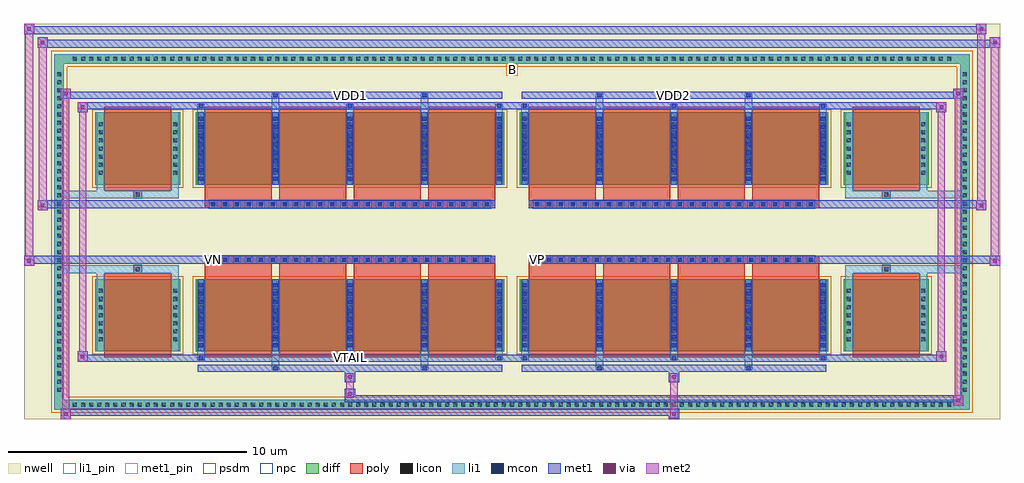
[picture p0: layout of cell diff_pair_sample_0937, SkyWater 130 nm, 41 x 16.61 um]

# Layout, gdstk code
import gdstk
lib = gdstk.Library(unit=1e-6, precision=5e-09)
def R(c, l, rs):  # rectangles x0, y0, x1, y1
    for r in rs: c.add(gdstk.rectangle(r[:2], r[2:], *l))
def A(c, l, x, y, w, h, nx, ny, dx, dy):  # array of equal rectangles
    R(c, l, [(x+i*dx, y+j*dy, x+i*dx+w, y+j*dy+h) for i in range(nx) for j in range(ny)])
def P(c, l, *ps):  # polygons
    for p in ps: c.add(gdstk.Polygon(p, *l))
nwell = (64, 20)
diff = (65, 20)
poly = (66, 20)
licon = (66, 44)
li1_pin = (67, 16)
li1 = (67, 20)
mcon = (67, 44)
met1_pin = (68, 16)
met1 = (68, 20)
via = (68, 44)
met2 = (69, 20)
psdm = (94, 20)
npc = (95, 20)

diff_pair_sample_0937 = lib.new_cell('diff_pair_sample_0937')
R(diff_pair_sample_0937, nwell, [(-20.5,-7.87,20.5,8.74), (-17.82,-6.06,-0.01,-0.8), (0.01,-6.06,17.82,-0.8), (-17.82,0.8,-0.01,6.06), (0.01,0.8,17.82,6.06)])
A(diff_pair_sample_0937, diff, -18.565, -7.47, 0.41, 0.41, 109, 2, 0.34, 14.53)
A(diff_pair_sample_0937, diff, -19.23, -6.835, 0.41, 0.41, 1, 40, 0, 0.34)
A(diff_pair_sample_0937, diff, 18.82, -6.835, 0.41, 0.41, 1, 40, 0, 0.34)
R(diff_pair_sample_0937, diff, [(-18.565,-7.47,18.565,-7.06), (-19.23,-6.835,-18.82,6.835), (18.82,-6.835,19.23,6.835), (-17.51,-5.015,-13.93,-1.985), (-13.29,-5.015,-0.32,-1.985), (0.32,-5.015,13.29,-1.985), (13.93,-5.015,17.51,-1.985), (-17.51,1.985,-13.93,5.015), (-13.29,1.985,-0.32,5.015), (0.32,1.985,13.29,5.015), (13.93,1.985,17.51,5.015), (-18.565,7.06,18.565,7.47)])
P(diff_pair_sample_0937, diff, [(19.23,7.47),(-19.23,7.47),(-19.23,-7.06),(-18.82,-7.06),(-18.82,7.06),(18.82,7.06),(18.82,-7.06),(-18.82,-7.06),(-19.23,-7.06),(-19.23,-7.47),(19.23,-7.47)])
A(diff_pair_sample_0937, poly, -12.9, -5.265, 2.8, 3.53, 4, 2, 3.13, 7)
A(diff_pair_sample_0937, poly, 0.71, -5.265, 2.8, 3.53, 4, 2, 3.13, 7)
A(diff_pair_sample_0937, poly, -12.9, -1.735, 2.8, 0.405, 4, 2, 3.13, 3.065)
A(diff_pair_sample_0937, poly, 0.71, -1.735, 2.8, 0.405, 4, 2, 3.13, 3.065)
A(diff_pair_sample_0937, poly, -12.72, -1.33, 0.33, 0.33, 24, 2, 0.5, 2.33)
A(diff_pair_sample_0937, poly, 0.89, -1.33, 0.33, 0.33, 24, 2, 0.5, 2.33)
R(diff_pair_sample_0937, poly, [(-17.12,-5.265,-14.32,-1.735), (14.32,-5.265,17.12,-1.735), (-15.885,-1.735,-15.555,-1.405), (-15.885,-1.735,-15.555,-1.405), (15.555,-1.735,15.885,-1.405), (15.555,-1.735,15.885,-1.405), (-12.9,-1.33,-0.71,-1), (0.71,-1.33,12.9,-1), (-12.9,1,-0.71,1.33), (0.71,1,12.9,1.33), (-15.885,1.405,-15.555,1.735), (-15.885,1.405,-15.555,1.735), (15.555,1.405,15.885,1.735), (15.555,1.405,15.885,1.735), (-17.12,1.735,-14.32,5.265), (14.32,1.735,17.12,5.265)])
A(diff_pair_sample_0937, licon, -18.445, -7.35, 0.17, 0.17, 109, 2, 0.34, 14.53)
A(diff_pair_sample_0937, licon, -19.11, -6.715, 0.17, 0.17, 1, 40, 0, 0.34)
A(diff_pair_sample_0937, licon, 18.94, -6.715, 0.17, 0.17, 1, 40, 0, 0.34)
A(diff_pair_sample_0937, licon, -17.37, -4.605, 0.17, 0.17, 1, 7, 0, 0.34)
A(diff_pair_sample_0937, licon, -14.24, -4.605, 0.17, 0.17, 1, 7, 0, 0.34)
A(diff_pair_sample_0937, licon, -13.15, -4.605, 0.17, 0.17, 5, 7, 3.13, 0.34)
A(diff_pair_sample_0937, licon, 0.46, -4.605, 0.17, 0.17, 5, 7, 3.13, 0.34)
A(diff_pair_sample_0937, licon, 14.07, -4.605, 0.17, 0.17, 1, 7, 0, 0.34)
A(diff_pair_sample_0937, licon, 17.2, -4.605, 0.17, 0.17, 1, 7, 0, 0.34)
A(diff_pair_sample_0937, licon, -12.64, -1.25, 0.17, 0.17, 24, 2, 0.5, 2.33)
A(diff_pair_sample_0937, licon, 0.97, -1.25, 0.17, 0.17, 24, 2, 0.5, 2.33)
A(diff_pair_sample_0937, licon, -17.37, 2.395, 0.17, 0.17, 1, 7, 0, 0.34)
A(diff_pair_sample_0937, licon, -14.24, 2.395, 0.17, 0.17, 1, 7, 0, 0.34)
A(diff_pair_sample_0937, licon, -13.15, 2.395, 0.17, 0.17, 5, 7, 3.13, 0.34)
A(diff_pair_sample_0937, licon, 0.46, 2.395, 0.17, 0.17, 5, 7, 3.13, 0.34)
A(diff_pair_sample_0937, licon, 14.07, 2.395, 0.17, 0.17, 1, 7, 0, 0.34)
A(diff_pair_sample_0937, licon, 17.2, 2.395, 0.17, 0.17, 1, 7, 0, 0.34)
R(diff_pair_sample_0937, licon, [(-15.805,-1.655,-15.635,-1.485), (15.635,-1.655,15.805,-1.485), (-15.805,1.485,-15.635,1.655), (15.635,1.485,15.805,1.655)])
R(diff_pair_sample_0937, li1_pin, [(-0.25,6.56,0.25,7.06)])
A(diff_pair_sample_0937, li1, -18.525, -7.43, 0.33, 0.33, 109, 2, 0.34, 14.53)
A(diff_pair_sample_0937, li1, -19.19, -6.795, 0.33, 0.33, 1, 40, 0, 0.34)
A(diff_pair_sample_0937, li1, 18.86, -6.795, 0.33, 0.33, 1, 40, 0, 0.34)
A(diff_pair_sample_0937, li1, -13.23, -5.39, 0.33, 0.375, 3, 2, 6.26, 10.405)
A(diff_pair_sample_0937, li1, -13.15, -5.39, 0.17, 0.17, 3, 2, 6.26, 10.61)
A(diff_pair_sample_0937, li1, 0.38, -5.39, 0.33, 0.375, 3, 2, 6.26, 10.405)
A(diff_pair_sample_0937, li1, 0.46, -5.39, 0.17, 0.17, 3, 2, 6.26, 10.61)
A(diff_pair_sample_0937, li1, -13.23, -5.015, 0.33, 3.03, 5, 2, 3.13, 7)
A(diff_pair_sample_0937, li1, 0.38, -5.015, 0.33, 3.03, 5, 2, 3.13, 7)
A(diff_pair_sample_0937, li1, -13.15, -4.845, 0.17, 0.17, 5, 8, 3.13, 0.36)
A(diff_pair_sample_0937, li1, -13.15, -4.845, 0.17, 2.69, 5, 2, 3.13, 7)
A(diff_pair_sample_0937, li1, 0.46, -4.845, 0.17, 0.17, 5, 8, 3.13, 0.36)
A(diff_pair_sample_0937, li1, 0.46, -4.845, 0.17, 2.69, 5, 2, 3.13, 7)
A(diff_pair_sample_0937, li1, -17.45, -4.685, 0.33, 0.33, 1, 7, 0, 0.34)
A(diff_pair_sample_0937, li1, -14.32, -4.685, 0.33, 0.33, 1, 7, 0, 0.34)
A(diff_pair_sample_0937, li1, -13.23, -4.685, 0.33, 0.33, 5, 7, 3.13, 0.34)
A(diff_pair_sample_0937, li1, 0.38, -4.685, 0.33, 0.33, 5, 7, 3.13, 0.34)
A(diff_pair_sample_0937, li1, 13.99, -4.685, 0.33, 0.33, 1, 7, 0, 0.34)
A(diff_pair_sample_0937, li1, 17.12, -4.685, 0.33, 0.33, 1, 7, 0, 0.34)
A(diff_pair_sample_0937, li1, -12.72, -1.33, 0.33, 0.33, 24, 2, 0.5, 2.33)
A(diff_pair_sample_0937, li1, 0.89, -1.33, 0.33, 0.33, 24, 2, 0.5, 2.33)
A(diff_pair_sample_0937, li1, -13.15, 2.155, 0.17, 0.17, 5, 8, 3.13, 0.36)
A(diff_pair_sample_0937, li1, 0.46, 2.155, 0.17, 0.17, 5, 8, 3.13, 0.36)
A(diff_pair_sample_0937, li1, -17.45, 2.315, 0.33, 0.33, 1, 7, 0, 0.34)
A(diff_pair_sample_0937, li1, -14.32, 2.315, 0.33, 0.33, 1, 7, 0, 0.34)
A(diff_pair_sample_0937, li1, -13.23, 2.315, 0.33, 0.33, 5, 7, 3.13, 0.34)
A(diff_pair_sample_0937, li1, 0.38, 2.315, 0.33, 0.33, 5, 7, 3.13, 0.34)
A(diff_pair_sample_0937, li1, 13.99, 2.315, 0.33, 0.33, 1, 7, 0, 0.34)
A(diff_pair_sample_0937, li1, 17.12, 2.315, 0.33, 0.33, 1, 7, 0, 0.34)
R(diff_pair_sample_0937, li1, [(-19.23,-7.47,-18.82,-7.06), (-19.23,-7.47,-18.82,-7.06), (-18.82,-7.47,18.82,-7.06), (18.82,-7.47,19.23,-7.06), (18.82,-7.47,19.23,-7.06), (-19.23,-7.06,-18.82,7.06), (18.82,-7.06,19.23,7.06), (-10.1,-5.82,-9.77,-5.015), (-10.02,-5.82,-9.85,-5.65), (-3.84,-5.82,-3.51,-5.015), (-3.76,-5.82,-3.59,-5.65), (3.51,-5.82,3.84,-5.015), (3.59,-5.82,3.76,-5.65), (9.77,-5.82,10.1,-5.015), (9.85,-5.82,10.02,-5.65), (-17.45,-5.015,-17.12,-1.985), (-14.32,-5.015,-13.99,-1.985), (13.99,-5.015,14.32,-1.985), (17.12,-5.015,17.45,-1.985), (-17.45,-1.985,-17.12,-1.405), (-14.32,-1.985,-13.99,-1.405), (13.99,-1.985,14.32,-1.405), (17.12,-1.985,17.45,-1.405), (-19.23,-1.735,-15.885,-1.405), (-17.45,-1.735,-15.885,-1.405), (-15.885,-1.735,-15.555,-1.405), (-15.555,-1.735,-13.99,-1.405), (13.99,-1.735,15.555,-1.405), (15.555,-1.735,15.885,-1.405), (15.555,-1.735,19.23,-1.405), (15.885,-1.735,17.45,-1.405), (-19.23,1.405,-15.885,1.735), (-17.45,1.405,-15.885,1.735), (-17.45,1.405,-17.12,1.985), (-15.885,1.405,-15.555,1.735), (-15.555,1.405,-13.99,1.735), (-14.32,1.405,-13.99,1.985), (13.99,1.405,15.555,1.735), (13.99,1.405,14.32,1.985), (15.555,1.405,15.885,1.735), (15.555,1.405,19.23,1.735), (15.885,1.405,17.45,1.735), (17.12,1.405,17.45,1.985), (-17.45,1.985,-17.12,5.015), (-14.32,1.985,-13.99,5.015), (13.99,1.985,14.32,5.015), (17.12,1.985,17.45,5.015), (-10.1,5.015,-9.77,5.82), (-3.84,5.015,-3.51,5.82), (3.51,5.015,3.84,5.82), (9.77,5.015,10.1,5.82), (-10.02,5.65,-9.85,5.82), (-3.76,5.65,-3.59,5.82), (3.59,5.65,3.76,5.82), (9.85,5.65,10.02,5.82), (-19.23,7.06,-18.82,7.47), (-19.23,7.06,-18.82,7.47), (-18.82,7.06,18.82,7.47), (18.82,7.06,19.23,7.47), (18.82,7.06,19.23,7.47)])
A(diff_pair_sample_0937, mcon, -13.15, -5.39, 0.17, 0.17, 3, 2, 6.26, 10.61)
A(diff_pair_sample_0937, mcon, 0.46, -5.39, 0.17, 0.17, 3, 2, 6.26, 10.61)
A(diff_pair_sample_0937, mcon, -13.15, -4.845, 0.17, 0.17, 5, 8, 3.13, 0.36)
A(diff_pair_sample_0937, mcon, 0.46, -4.845, 0.17, 0.17, 5, 8, 3.13, 0.36)
A(diff_pair_sample_0937, mcon, -12.64, -1.25, 0.17, 0.17, 24, 2, 0.5, 2.33)
A(diff_pair_sample_0937, mcon, 0.97, -1.25, 0.17, 0.17, 24, 2, 0.5, 2.33)
A(diff_pair_sample_0937, mcon, -13.15, 2.155, 0.17, 0.17, 5, 8, 3.13, 0.36)
A(diff_pair_sample_0937, mcon, 0.46, 2.155, 0.17, 0.17, 5, 8, 3.13, 0.36)
R(diff_pair_sample_0937, mcon, [(-10.02,-5.82,-9.85,-5.65), (-3.76,-5.82,-3.59,-5.65), (3.59,-5.82,3.76,-5.65), (9.85,-5.82,10.02,-5.65), (-10.02,5.65,-9.85,5.82), (-3.76,5.65,-3.59,5.82), (3.59,5.65,3.76,5.82), (9.85,5.65,10.02,5.82)])
R(diff_pair_sample_0937, met1_pin, [(-6.94,-5.43,-6.67,-5.16), (-12.69,-1.29,-12.42,-1.02), (0.92,-1.29,1.19,-1.02), (-6.94,5.61,-6.67,5.88), (6.67,5.61,6.94,5.88)])
A(diff_pair_sample_0937, met1, -13.21, -5.45, 0.29, 0.29, 3, 2, 6.26, 10.61)
A(diff_pair_sample_0937, met1, 0.4, -5.45, 0.29, 0.29, 3, 2, 6.26, 10.61)
A(diff_pair_sample_0937, met1, -13.21, -5.015, 0.29, 3.03, 5, 2, 3.13, 7)
A(diff_pair_sample_0937, met1, 0.4, -5.015, 0.29, 3.03, 5, 2, 3.13, 7)
A(diff_pair_sample_0937, met1, -13.21, -4.905, 0.29, 0.29, 5, 8, 3.13, 0.36)
A(diff_pair_sample_0937, met1, 0.4, -4.905, 0.29, 0.29, 5, 8, 3.13, 0.36)
A(diff_pair_sample_0937, met1, -12.7, -1.31, 0.29, 0.29, 24, 2, 0.5, 2.33)
A(diff_pair_sample_0937, met1, 0.91, -1.31, 0.29, 0.29, 24, 2, 0.5, 2.33)
A(diff_pair_sample_0937, met1, -13.21, 2.095, 0.29, 0.29, 5, 8, 3.13, 0.36)
A(diff_pair_sample_0937, met1, 0.4, 2.095, 0.29, 0.29, 5, 8, 3.13, 0.36)
R(diff_pair_sample_0937, met1, [(-18.96,-7.87,-18.53,-7.44), (6.59,-7.87,7.02,-7.44), (-18.96,-7.73,7.02,-7.44), (18.53,-7.3,18.96,-6.87), (-7.02,-7.16,18.96,-6.87), (-7.02,-7.02,-6.59,-6.59), (-7.02,-6.31,-6.59,-5.88), (6.59,-6.31,7.02,-5.88), (-13.21,-5.88,-0.4,-5.59), (-10.08,-5.88,-9.79,-5.59), (-3.82,-5.88,-3.53,-5.59), (0.4,-5.88,13.21,-5.59), (3.53,-5.88,3.82,-5.59), (9.79,-5.88,10.08,-5.59), (-18.25,-5.45,-17.82,-5.02), (-18.25,-5.45,-13.21,-5.16), (-13.21,-5.45,-0.4,-5.16), (-0.4,-5.45,0.4,-5.16), (0.4,-5.45,13.21,-5.16), (13.21,-5.45,18.25,-5.16), (17.82,-5.45,18.25,-5.02), (-20.5,-1.43,-20.07,-1), (20.07,-1.43,20.5,-1), (-20.5,-1.33,-0.71,-1), (-12.9,-1.33,-0.71,-1), (0.71,-1.33,12.9,-1), (0.71,-1.33,20.5,-1), (-19.93,0.9,-19.5,1.33), (19.5,0.9,19.93,1.33), (-19.93,1,-12.9,1.33), (-12.9,1,-0.71,1.33), (0.71,1,12.9,1.33), (12.9,1,19.93,1.33), (-18.25,5.02,-17.82,5.45), (17.82,5.02,18.25,5.45), (-18.25,5.16,-13.21,5.45), (-13.21,5.16,-0.4,5.45), (-0.4,5.16,0.4,5.45), (0.4,5.16,13.21,5.45), (13.21,5.16,18.25,5.45), (-18.96,5.59,-18.53,6.02), (-18.96,5.59,-13.21,5.88), (-13.21,5.59,-0.4,5.88), (-10.08,5.59,-9.79,5.88), (-3.82,5.59,-3.53,5.88), (0.4,5.59,13.21,5.88), (3.53,5.59,3.82,5.88), (9.79,5.59,10.08,5.88), (13.21,5.59,18.96,5.88), (18.53,5.59,18.96,6.02), (-19.93,7.74,-19.5,8.17), (-19.93,7.74,-17.82,8.07), (-17.82,7.74,17.82,8.07), (17.82,7.74,20.5,8.07), (20.07,7.74,20.5,8.17), (-20.5,8.31,-20.07,8.74), (-20.5,8.31,-17.82,8.64), (-17.82,8.31,17.82,8.64), (17.82,8.31,19.93,8.64), (19.5,8.31,19.93,8.74)])
R(diff_pair_sample_0937, via, [(-18.82,-7.73,-18.67,-7.58), (6.73,-7.73,6.88,-7.58), (18.67,-7.16,18.82,-7.01), (-6.88,-6.88,-6.73,-6.73), (-6.88,-6.17,-6.73,-6.02), (6.73,-6.17,6.88,-6.02), (-18.11,-5.31,-17.96,-5.16), (17.96,-5.31,18.11,-5.16), (-20.36,-1.29,-20.21,-1.14), (20.21,-1.29,20.36,-1.14), (-19.79,1.04,-19.64,1.19), (19.64,1.04,19.79,1.19), (-18.11,5.16,-17.96,5.31), (17.96,5.16,18.11,5.31), (-18.82,5.73,-18.67,5.88), (18.67,5.73,18.82,5.88), (-19.79,7.88,-19.64,8.03), (20.21,7.88,20.36,8.03), (-20.36,8.45,-20.21,8.6), (19.64,8.45,19.79,8.6)])
R(diff_pair_sample_0937, met2, [(-18.96,-7.87,-18.53,-7.44), (-18.89,-7.87,-18.6,6.02), (-18.6,-7.87,-18.53,-7.44), (-18.91,-7.82,-18.58,-7.49), (6.64,-7.82,6.97,-7.49), (6.64,-7.49,6.97,-6.26), (18.53,-7.3,18.96,-6.87), (18.6,-7.3,18.89,6.02), (18.89,-7.3,18.96,-6.87), (18.58,-7.25,18.91,-6.92), (-6.97,-6.97,-6.64,-6.64), (-6.97,-6.64,-6.64,-6.26), (-6.97,-6.26,-6.64,-5.93), (6.64,-6.26,6.97,-5.93), (-18.25,-5.45,-17.82,-5.02), (-18.18,-5.45,-17.89,5.45), (-17.89,-5.45,-17.82,-5.02), (17.82,-5.45,18.25,-5.02), (17.89,-5.45,18.18,5.45), (18.18,-5.45,18.25,-5.02), (-18.2,-5.4,-17.87,-5.07), (17.87,-5.4,18.2,-5.07), (-20.5,-1.43,-20.07,-1), (-20.45,-1.43,-20.12,8.74), (-20.12,-1.43,-20.07,-1), (20.07,-1.43,20.5,-1), (20.12,-1.43,20.45,8.17), (20.45,-1.43,20.5,-1), (-20.45,-1.38,-20.12,-1.05), (20.12,-1.38,20.45,-1.05), (-19.93,0.9,-19.5,1.33), (-19.88,0.9,-19.55,8.17), (-19.55,0.9,-19.5,1.33), (19.5,0.9,19.93,1.33), (19.55,0.9,19.88,8.74), (19.88,0.9,19.93,1.33), (-19.88,0.95,-19.55,1.28), (19.55,0.95,19.88,1.28), (-18.25,5.02,-17.82,5.45), (-17.89,5.02,-17.82,5.45), (17.82,5.02,18.25,5.45), (18.18,5.02,18.25,5.45), (-18.2,5.07,-17.87,5.4), (17.87,5.07,18.2,5.4), (-18.96,5.59,-18.53,6.02), (-18.6,5.59,-18.53,6.02), (18.53,5.59,18.96,6.02), (18.89,5.59,18.96,6.02), (-18.91,5.64,-18.58,5.97), (18.58,5.64,18.91,5.97), (-19.93,7.74,-19.5,8.17), (-19.55,7.74,-19.5,8.17), (20.07,7.74,20.5,8.17), (20.45,7.74,20.5,8.17), (-19.88,7.79,-19.55,8.12), (20.12,7.79,20.45,8.12), (-20.5,8.31,-20.07,8.74), (-20.12,8.31,-20.07,8.74), (19.5,8.31,19.93,8.74), (19.88,8.31,19.93,8.74), (-20.45,8.36,-20.12,8.69), (19.55,8.36,19.88,8.69)])
R(diff_pair_sample_0937, psdm, [(-17.64,-5.145,-13.8,-1.855), (-13.42,-5.145,-0.19,-1.855), (0.19,-5.145,13.42,-1.855), (13.8,-5.145,17.64,-1.855), (-17.64,1.855,-13.8,5.145), (-13.42,1.855,-0.19,5.145), (0.19,1.855,13.42,5.145), (13.8,1.855,17.64,5.145)])
P(diff_pair_sample_0937, psdm, [(19.36,7.6),(-19.36,7.6),(-19.36,-6.93),(-18.69,-6.93),(-18.69,6.93),(18.69,6.93),(18.69,-6.93),(-18.69,-6.93),(-19.36,-6.93),(-19.36,-7.6),(19.36,-7.6)])
A(diff_pair_sample_0937, npc, -12.74, -1.35, 0.37, 0.37, 24, 2, 0.5, 2.33)
A(diff_pair_sample_0937, npc, 0.87, -1.35, 0.37, 0.37, 24, 2, 0.5, 2.33)
R(diff_pair_sample_0937, npc, [(-15.905,-1.755,-15.535,-1.385), (15.535,-1.755,15.905,-1.385), (-12.74,-1.35,-11.87,-0.98), (-12.74,-1.35,-11.87,-0.98), (-12.24,-1.35,-11.37,-0.98), (-12.24,-1.35,-11.37,-0.98), (-11.74,-1.35,-10.87,-0.98), (-11.74,-1.35,-10.87,-0.98), (-11.24,-1.35,-10.37,-0.98), (-11.24,-1.35,-10.37,-0.98), (-10.74,-1.35,-9.87,-0.98), (-10.74,-1.35,-9.87,-0.98), (-10.24,-1.35,-9.37,-0.98), (-10.24,-1.35,-9.37,-0.98), (-9.74,-1.35,-8.87,-0.98), (-9.74,-1.35,-8.87,-0.98), (-9.24,-1.35,-8.37,-0.98), (-9.24,-1.35,-8.37,-0.98), (-8.74,-1.35,-7.87,-0.98), (-8.74,-1.35,-7.87,-0.98), (-8.24,-1.35,-7.37,-0.98), (-8.24,-1.35,-7.37,-0.98), (-7.74,-1.35,-6.87,-0.98), (-7.74,-1.35,-6.87,-0.98), (-7.24,-1.35,-6.37,-0.98), (-7.24,-1.35,-6.37,-0.98), (-6.74,-1.35,-5.87,-0.98), (-6.74,-1.35,-5.87,-0.98), (-6.24,-1.35,-5.37,-0.98), (-6.24,-1.35,-5.37,-0.98), (-5.74,-1.35,-4.87,-0.98), (-5.74,-1.35,-4.87,-0.98), (-5.24,-1.35,-4.37,-0.98), (-5.24,-1.35,-4.37,-0.98), (-4.74,-1.35,-3.87,-0.98), (-4.74,-1.35,-3.87,-0.98), (-4.24,-1.35,-3.37,-0.98), (-4.24,-1.35,-3.37,-0.98), (-3.74,-1.35,-2.87,-0.98), (-3.74,-1.35,-2.87,-0.98), (-3.24,-1.35,-2.37,-0.98), (-3.24,-1.35,-2.37,-0.98), (-2.74,-1.35,-1.87,-0.98), (-2.74,-1.35,-1.87,-0.98), (-2.24,-1.35,-1.37,-0.98), (-2.24,-1.35,-1.37,-0.98), (-1.74,-1.35,-0.87,-0.98), (-1.74,-1.35,-0.87,-0.98), (0.87,-1.35,1.74,-0.98), (0.87,-1.35,1.74,-0.98), (1.37,-1.35,2.24,-0.98), (1.37,-1.35,2.24,-0.98), (1.87,-1.35,2.74,-0.98), (1.87,-1.35,2.74,-0.98), (2.37,-1.35,3.24,-0.98), (2.37,-1.35,3.24,-0.98), (2.87,-1.35,3.74,-0.98), (2.87,-1.35,3.74,-0.98), (3.37,-1.35,4.24,-0.98), (3.37,-1.35,4.24,-0.98), (3.87,-1.35,4.74,-0.98), (3.87,-1.35,4.74,-0.98), (4.37,-1.35,5.24,-0.98), (4.37,-1.35,5.24,-0.98), (4.87,-1.35,5.74,-0.98), (4.87,-1.35,5.74,-0.98), (5.37,-1.35,6.24,-0.98), (5.37,-1.35,6.24,-0.98), (5.87,-1.35,6.74,-0.98), (5.87,-1.35,6.74,-0.98), (6.37,-1.35,7.24,-0.98), (6.37,-1.35,7.24,-0.98), (6.87,-1.35,7.74,-0.98), (6.87,-1.35,7.74,-0.98), (7.37,-1.35,8.24,-0.98), (7.37,-1.35,8.24,-0.98), (7.87,-1.35,8.74,-0.98), (7.87,-1.35,8.74,-0.98), (8.37,-1.35,9.24,-0.98), (8.37,-1.35,9.24,-0.98), (8.87,-1.35,9.74,-0.98), (8.87,-1.35,9.74,-0.98), (9.37,-1.35,10.24,-0.98), (9.37,-1.35,10.24,-0.98), (9.87,-1.35,10.74,-0.98), (9.87,-1.35,10.74,-0.98), (10.37,-1.35,11.24,-0.98), (10.37,-1.35,11.24,-0.98), (10.87,-1.35,11.74,-0.98), (10.87,-1.35,11.74,-0.98), (11.37,-1.35,12.24,-0.98), (11.37,-1.35,12.24,-0.98), (11.87,-1.35,12.74,-0.98), (11.87,-1.35,12.74,-0.98), (-12.74,0.98,-11.87,1.35), (-12.74,0.98,-11.87,1.35), (-12.24,0.98,-11.37,1.35), (-12.24,0.98,-11.37,1.35), (-11.74,0.98,-10.87,1.35), (-11.74,0.98,-10.87,1.35), (-11.24,0.98,-10.37,1.35), (-11.24,0.98,-10.37,1.35), (-10.74,0.98,-9.87,1.35), (-10.74,0.98,-9.87,1.35), (-10.24,0.98,-9.37,1.35), (-10.24,0.98,-9.37,1.35), (-9.74,0.98,-8.87,1.35), (-9.74,0.98,-8.87,1.35), (-9.24,0.98,-8.37,1.35), (-9.24,0.98,-8.37,1.35), (-8.74,0.98,-7.87,1.35), (-8.74,0.98,-7.87,1.35), (-8.24,0.98,-7.37,1.35), (-8.24,0.98,-7.37,1.35), (-7.74,0.98,-6.87,1.35), (-7.74,0.98,-6.87,1.35), (-7.24,0.98,-6.37,1.35), (-7.24,0.98,-6.37,1.35), (-6.74,0.98,-5.87,1.35), (-6.74,0.98,-5.87,1.35), (-6.24,0.98,-5.37,1.35), (-6.24,0.98,-5.37,1.35), (-5.74,0.98,-4.87,1.35), (-5.74,0.98,-4.87,1.35), (-5.24,0.98,-4.37,1.35), (-5.24,0.98,-4.37,1.35), (-4.74,0.98,-3.87,1.35), (-4.74,0.98,-3.87,1.35), (-4.24,0.98,-3.37,1.35), (-4.24,0.98,-3.37,1.35), (-3.74,0.98,-2.87,1.35), (-3.74,0.98,-2.87,1.35), (-3.24,0.98,-2.37,1.35), (-3.24,0.98,-2.37,1.35), (-2.74,0.98,-1.87,1.35), (-2.74,0.98,-1.87,1.35), (-2.24,0.98,-1.37,1.35), (-2.24,0.98,-1.37,1.35), (-1.74,0.98,-0.87,1.35), (-1.74,0.98,-0.87,1.35), (0.87,0.98,1.74,1.35), (0.87,0.98,1.74,1.35), (1.37,0.98,2.24,1.35), (1.37,0.98,2.24,1.35), (1.87,0.98,2.74,1.35), (1.87,0.98,2.74,1.35), (2.37,0.98,3.24,1.35), (2.37,0.98,3.24,1.35), (2.87,0.98,3.74,1.35), (2.87,0.98,3.74,1.35), (3.37,0.98,4.24,1.35), (3.37,0.98,4.24,1.35), (3.87,0.98,4.74,1.35), (3.87,0.98,4.74,1.35), (4.37,0.98,5.24,1.35), (4.37,0.98,5.24,1.35), (4.87,0.98,5.74,1.35), (4.87,0.98,5.74,1.35), (5.37,0.98,6.24,1.35), (5.37,0.98,6.24,1.35), (5.87,0.98,6.74,1.35), (5.87,0.98,6.74,1.35), (6.37,0.98,7.24,1.35), (6.37,0.98,7.24,1.35), (6.87,0.98,7.74,1.35), (6.87,0.98,7.74,1.35), (7.37,0.98,8.24,1.35), (7.37,0.98,8.24,1.35), (7.87,0.98,8.74,1.35), (7.87,0.98,8.74,1.35), (8.37,0.98,9.24,1.35), (8.37,0.98,9.24,1.35), (8.87,0.98,9.74,1.35), (8.87,0.98,9.74,1.35), (9.37,0.98,10.24,1.35), (9.37,0.98,10.24,1.35), (9.87,0.98,10.74,1.35), (9.87,0.98,10.74,1.35), (10.37,0.98,11.24,1.35), (10.37,0.98,11.24,1.35), (10.87,0.98,11.74,1.35), (10.87,0.98,11.74,1.35), (11.37,0.98,12.24,1.35), (11.37,0.98,12.24,1.35), (11.87,0.98,12.74,1.35), (11.87,0.98,12.74,1.35), (-15.905,1.385,-15.535,1.755), (15.535,1.385,15.905,1.755)])
diff_pair_sample_0937.add(gdstk.Label('VTAIL', (-6.805,-5.295), layer=68, texttype=5))
diff_pair_sample_0937.add(gdstk.Label('VN', (-12.555,-1.155), layer=68, texttype=5))
diff_pair_sample_0937.add(gdstk.Label('VP', (1.055,-1.155), layer=68, texttype=5))
diff_pair_sample_0937.add(gdstk.Label('B', (0,6.81), layer=67, texttype=5))
diff_pair_sample_0937.add(gdstk.Label('VDD2', (6.805,5.745), layer=68, texttype=5))
diff_pair_sample_0937.add(gdstk.Label('VDD1', (-6.805,5.745), layer=68, texttype=5))

lib.write_gds('diff_pair_sample_0937.gds')
